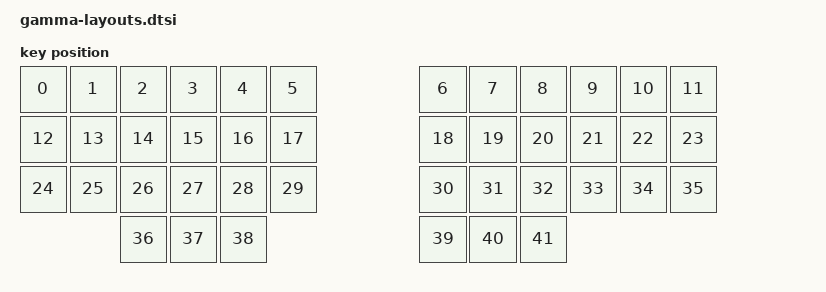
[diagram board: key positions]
// See https://zmk.dev/docs/development/hardware-integration/physical-layouts
// for how to configure this.

#include <physical_layouts.dtsi>

/ {
    default_layout: default_layout {
        compatible = "zmk,physical-layout";
        display-name = "Default Layout";
        transform = <&default_transform>;
        kscan = <&kscan>;

        // Edit this to define the positions and sizes of the keys, or remove it
        // if your keyboard will not support ZMK Studio.
        // https://zmk.dev/docs/development/hardware-integration/physical-layouts#optional-keys-property
        keys  //                     w   h    x    y     rot    rx    ry
            = <&key_physical_attrs 100 100    0    0       0     0     0>
            , <&key_physical_attrs 100 100  100    0       0     0     0>
            , <&key_physical_attrs 100 100  200    0       0     0     0>
            , <&key_physical_attrs 100 100  300    0       0     0     0>
            , <&key_physical_attrs 100 100  400    0       0     0     0>
            , <&key_physical_attrs 100 100  500    0       0     0     0>
            , <&key_physical_attrs 100 100  800    0       0     0     0>
            , <&key_physical_attrs 100 100  900    0       0     0     0>
            , <&key_physical_attrs 100 100 1000    0       0     0     0>
            , <&key_physical_attrs 100 100 1100    0       0     0     0>
            , <&key_physical_attrs 100 100 1200    0       0     0     0>
            , <&key_physical_attrs 100 100 1300    0       0     0     0>
            , <&key_physical_attrs 100 100    0  100       0     0     0>
            , <&key_physical_attrs 100 100  100  100       0     0     0>
            , <&key_physical_attrs 100 100  200  100       0     0     0>
            , <&key_physical_attrs 100 100  300  100       0     0     0>
            , <&key_physical_attrs 100 100  400  100       0     0     0>
            , <&key_physical_attrs 100 100  500  100       0     0     0>
            , <&key_physical_attrs 100 100  800  100       0     0     0>
            , <&key_physical_attrs 100 100  900  100       0     0     0>
            , <&key_physical_attrs 100 100 1000  100       0     0     0>
            , <&key_physical_attrs 100 100 1100  100       0     0     0>
            , <&key_physical_attrs 100 100 1200  100       0     0     0>
            , <&key_physical_attrs 100 100 1300  100       0     0     0>
            , <&key_physical_attrs 100 100    0  200       0     0     0>
            , <&key_physical_attrs 100 100  100  200       0     0     0>
            , <&key_physical_attrs 100 100  200  200       0     0     0>
            , <&key_physical_attrs 100 100  300  200       0     0     0>
            , <&key_physical_attrs 100 100  400  200       0     0     0>
            , <&key_physical_attrs 100 100  500  200       0     0     0>
            , <&key_physical_attrs 100 100  800  200       0     0     0>
            , <&key_physical_attrs 100 100  900  200       0     0     0>
            , <&key_physical_attrs 100 100 1000  200       0     0     0>
            , <&key_physical_attrs 100 100 1100  200       0     0     0>
            , <&key_physical_attrs 100 100 1200  200       0     0     0>
            , <&key_physical_attrs 100 100 1300  200       0     0     0>
            , <&key_physical_attrs 100 100  200  300       0     0     0>
            , <&key_physical_attrs 100 100  300  300       0     0     0>
            , <&key_physical_attrs 100 100  400  300       0     0     0>
            , <&key_physical_attrs 100 100  800  300       0     0     0>
            , <&key_physical_attrs 100 100  900  300       0     0     0>
            , <&key_physical_attrs 100 100 1000  300       0     0     0>
            ;
    };
};
